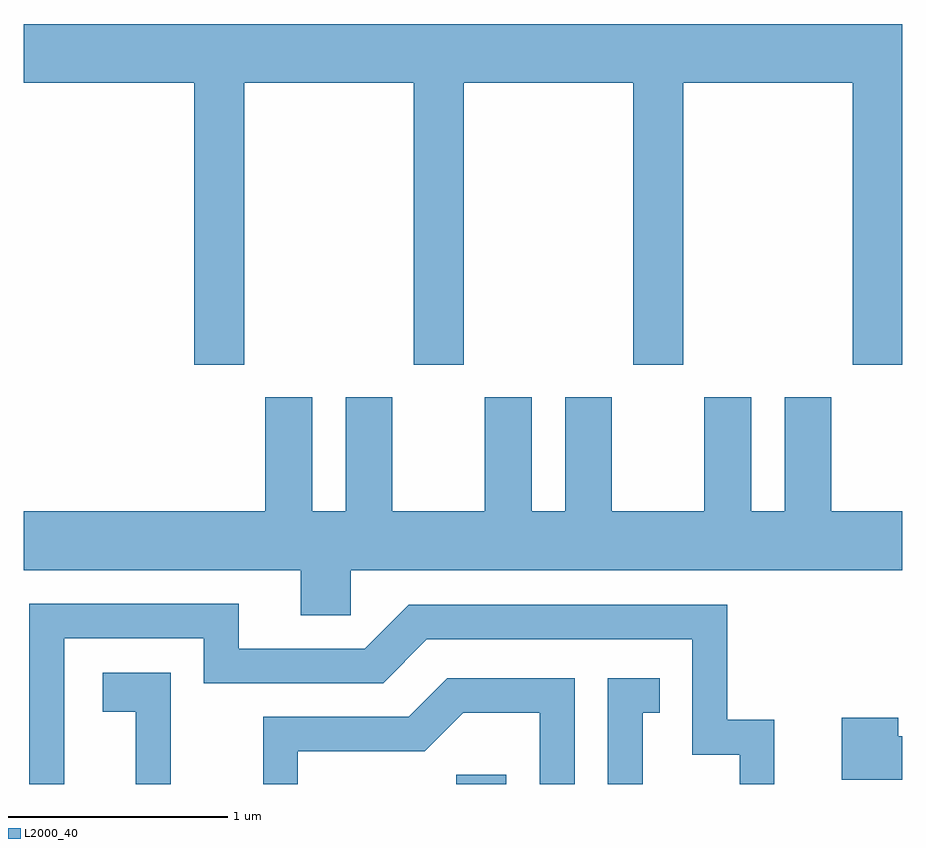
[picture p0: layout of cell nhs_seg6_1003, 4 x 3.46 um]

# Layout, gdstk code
import gdstk
lib = gdstk.Library(unit=1e-6, precision=1e-09)
def R(c, l, rs):  # rectangles x0, y0, x1, y1
    for r in rs: c.add(gdstk.rectangle(r[:2], r[2:], *l))
def P(c, l, *ps):  # polygons
    for p in ps: c.add(gdstk.Polygon(p, *l))
L2000_40 = (2000, 40)

nhs_seg6_1003 = lib.new_cell('nhs_seg6_1003')
R(nhs_seg6_1003, L2000_40, [(217.581,1560.162,217.809,1560.204)])
P(nhs_seg6_1003, L2000_40, [(216.614,1563.356),(217.386,1563.356),(217.386,1562.071),(217.614,1562.071),(217.614,1563.356),(218.386,1563.356),(218.386,1562.071),(218.614,1562.071),(218.614,1563.356),(219.386,1563.356),(219.386,1562.071),(219.611,1562.071),(219.611,1563.624),(215.611,1563.624),(215.611,1563.356),(216.386,1563.356),(216.386,1562.071),(216.614,1562.071)],
  [(216.711,1561.404),(215.611,1561.404),(215.611,1561.136),(216.871,1561.136),(216.871,1560.931),(217.099,1560.931),(217.099,1561.136),(219.611,1561.136),(219.611,1561.404),(219.289,1561.404),(219.289,1561.924),(219.076,1561.924),(219.076,1561.404),(218.924,1561.404),(218.924,1561.924),(218.711,1561.924),(218.711,1561.404),(218.289,1561.404),(218.289,1561.924),(218.076,1561.924),(218.076,1561.404),(217.924,1561.404),(217.924,1561.924),(217.711,1561.924),(217.711,1561.404),(217.289,1561.404),(217.289,1561.924),(217.076,1561.924),(217.076,1561.404),(216.924,1561.404),(216.924,1561.924),(216.711,1561.924)],
  [(215.794,1560.826),(216.431,1560.826),(216.431,1560.621),(217.247,1560.621),(217.447,1560.821),(218.656,1560.821),(218.656,1560.296),(218.871,1560.296),(218.871,1560.162),(219.029,1560.162),(219.029,1560.454),(218.814,1560.454),(218.814,1560.979),(217.364,1560.979),(217.164,1560.779),(216.589,1560.779),(216.589,1560.984),(215.636,1560.984),(215.636,1560.162),(215.794,1560.162)],
  [(216.279,1560.669),(215.971,1560.669),(215.971,1560.491),(216.121,1560.491),(216.121,1560.162),(216.279,1560.162)],
  [(216.859,1560.311),(217.437,1560.311),(217.612,1560.486),(217.961,1560.486),(217.961,1560.162),(218.119,1560.162),(218.119,1560.644),(217.539,1560.644),(217.364,1560.469),(216.701,1560.469),(216.701,1560.162),(216.859,1560.162)],
  [(218.429,1560.486),(218.508,1560.486),(218.508,1560.644),(218.271,1560.644),(218.271,1560.162),(218.429,1560.162)],
  [(219.611,1560.379),(219.594,1560.379),(219.594,1560.464),(219.336,1560.464),(219.336,1560.181),(219.611,1560.181)])

lib.write_gds('nhs_seg6_1003.gds')
